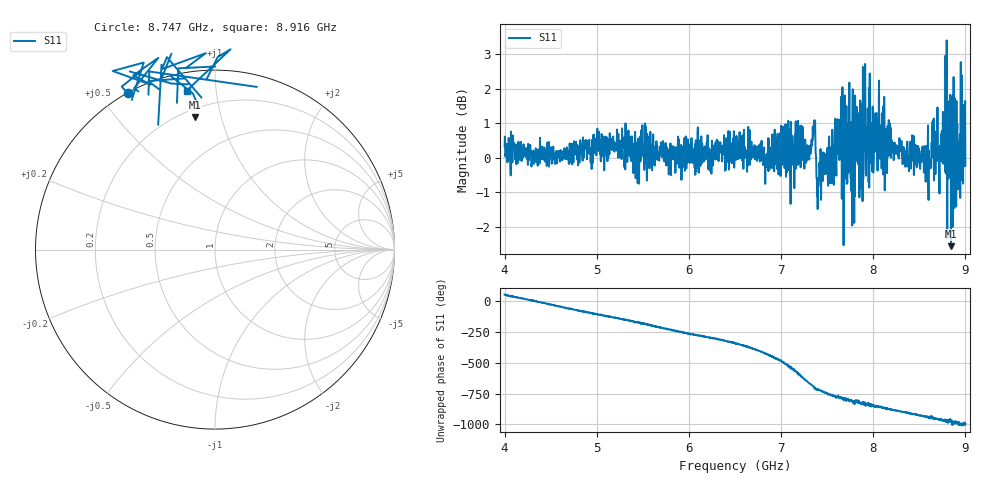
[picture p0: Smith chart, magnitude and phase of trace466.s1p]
! Created with skrf 1.8.0 (http://scikit-rf.org).
# Hz S RI R 50.0
!freq ReS11 ImS11
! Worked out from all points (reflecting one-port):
!   1601 points, 4 GHz to 9 GHz, reference 50 ohm
!   lowest |S11| = -2.6 dB at 8.844 GHz (marker M1), VSWR 6.84, Z = 12.5 + j41.3 ohm
!   phase of S11 starts at 53 deg and turns -1046 deg over the sweep
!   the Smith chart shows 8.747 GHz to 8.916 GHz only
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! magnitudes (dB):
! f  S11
! 4 GHz  0.3
! 4.625 GHz  -0.1
! 5.25 GHz  0.0
! 5.875 GHz  0.0
! 6.5 GHz  0.4
! 7.125 GHz  0.1
! 7.291 GHz  0.3
! 7.347 GHz  0.6
! 7.409 GHz  -0.8
! 7.45 GHz  -0.7
! 7.575 GHz  0.4
! 7.631 GHz  0.4
! 7.75 GHz  1.0
! 7.775 GHz  1.3
! 7.822 GHz  0.3
! 7.859 GHz  1.7
! 7.891 GHz  -0.6
! 8.038 GHz  1.1
! 8.375 GHz  0.2
! 8.438 GHz  0.6
! 8.603 GHz  0.2
! 8.656 GHz  1.1
! 8.738 GHz  0.7
! 8.775 GHz  1.2
! 8.844 GHz  -2.6
! 8.922 GHz  -0.1
! 8.972 GHz  1.3
! 9 GHz  -0.2
